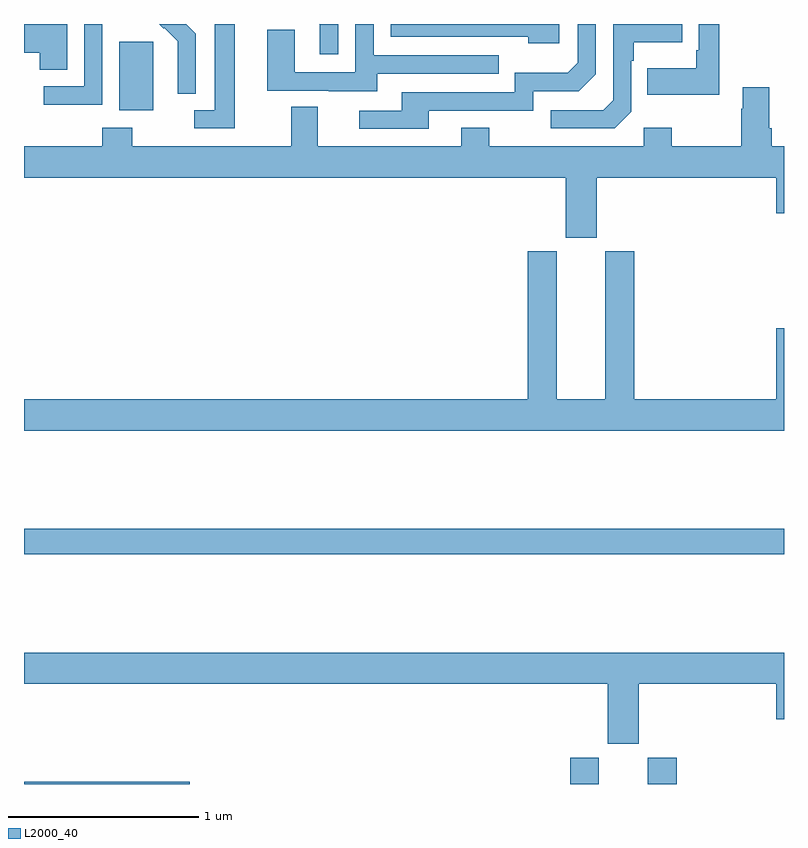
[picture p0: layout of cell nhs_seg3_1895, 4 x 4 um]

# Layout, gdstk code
import gdstk
lib = gdstk.Library(unit=1e-6, precision=1e-09)
def R(c, l, rs):  # rectangles x0, y0, x1, y1
    for r in rs: c.add(gdstk.rectangle(r[:2], r[2:], *l))
def P(c, l, *ps):  # polygons
    for p in ps: c.add(gdstk.Polygon(p, *l))
L2000_40 = (2000, 40)

nhs_seg3_1895 = lib.new_cell('nhs_seg3_1895')
R(nhs_seg3_1895, L2000_40, [(209,688.4,209.872,688.412), (211.874,688.4,212.026,688.539), (212.282,688.4,212.435,688.539), (209,689.608,213,689.744), (209.501,691.946,209.68,692.307)])
P(nhs_seg3_1895, L2000_40, [(209.227,692.4),(209,692.4),(209,692.249),(209.084,692.249),(209.084,692.158),(209.227,692.158)],
  [(210.109,692.4),(210.005,692.4),(210.005,691.947),(209.895,691.947),(209.895,691.851),(210.109,691.851)],
  [(210.859,692.139),(211.499,692.139),(211.499,692.235),(210.84,692.235),(210.84,692.4),(210.744,692.4),(210.744,692.145),(210.426,692.145),(210.426,692.369),(210.281,692.369),(210.281,692.049),(210.605,692.049),(210.605,692.045),(210.859,692.045)],
  [(211.816,692.4),(210.93,692.4),(210.93,692.334),(211.655,692.334),(211.655,692.3),(211.816,692.3)],
  [(209.904,692.35),(209.854,692.4),(209.712,692.4),(209.736,692.376),(209.739,692.379),(209.81,692.309),(209.81,692.186),(209.808,692.186),(209.808,692.032),(209.904,692.032)],
  [(209.412,692.4),(209.316,692.4),(209.316,692.073),(209.103,692.073),(209.103,691.975),(209.412,691.975)],
  [(212.659,692.4),(212.55,692.4),(212.55,692.263),(212.538,692.263),(212.538,692.167),(212.281,692.167),(212.281,692.027),(212.659,692.027)],
  [(210.654,692.4),(210.554,692.4),(210.557,692.397),(210.557,692.241),(210.654,692.241)],
  [(211.129,691.944),(211.68,691.944),(211.68,692.046),(211.92,692.046),(212.01,692.136),(212.01,692.4),(211.914,692.4),(211.914,692.196),(211.861,692.143),(211.584,692.143),(211.584,692.04),(210.989,692.04),(210.989,691.944),(210.765,691.944),(210.765,691.848),(211.129,691.848)],
  [(212.196,691.938),(212.196,692.207),(212.209,692.207),(212.209,692.303),(212.465,692.303),(212.465,692.4),(212.1,692.4),(212.1,691.998),(212.049,691.947),(211.773,691.947),(211.773,691.851),(212.109,691.851)],
  [(212.014,691.592),(212.96,691.592),(212.96,691.404),(213,691.404),(213,691.756),(212.936,691.756),(212.936,691.852),(212.923,691.852),(212.923,692.068),(212.783,692.068),(212.783,691.955),(212.776,691.955),(212.776,691.756),(212.409,691.756),(212.409,691.855),(212.262,691.855),(212.262,691.756),(211.449,691.756),(211.449,691.855),(211.301,691.855),(211.301,691.756),(210.547,691.756),(210.547,691.964),(210.407,691.964),(210.407,691.756),(209.571,691.756),(209.571,691.855),(209.411,691.855),(209.411,691.756),(209,691.756),(209,691.592),(211.85,691.592),(211.85,691.275),(212.014,691.275)],
  [(213,690.799),(212.96,690.799),(212.96,690.424),(212.213,690.424),(212.213,691.203),(212.06,691.203),(212.06,690.424),(211.804,690.424),(211.804,691.203),(211.652,691.203),(211.652,690.424),(209,690.424),(209,690.26),(213,690.26)],
  [(212.236,688.928),(212.96,688.928),(212.96,688.74),(213,688.74),(213,689.092),(209,689.092),(209,688.928),(212.072,688.928),(212.072,688.611),(212.236,688.611)])

lib.write_gds('nhs_seg3_1895.gds')
